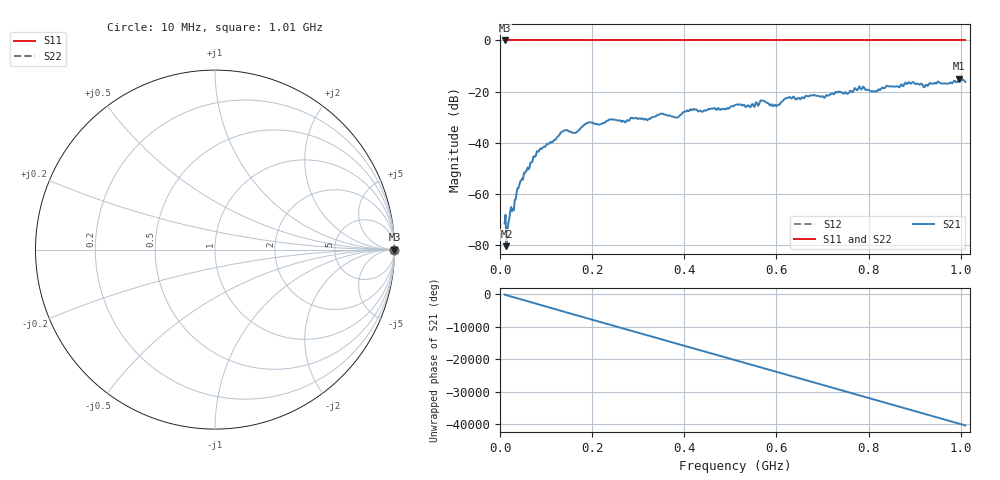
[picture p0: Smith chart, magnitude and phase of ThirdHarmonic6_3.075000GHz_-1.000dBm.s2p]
! 8/17/2025 9:00:05 AM
! C:\ANRITSUVNA\TEMP\TEMP.S2P
! CHANNEL.1
! TR.MEASUREMENT
! RAW.DATA
! RF.CORRECTION.OFF
! AVERAGING.OFF
! IF.BANDWIDTH: 5KHZ
! SWEEPTYPE:  FREQ.SWEEP(Linear)
! Reference Plane Port Info
! PORT:  PORT1  PORT2
! DISTANCE:  0  m  0  m
! TIME:  0  s  0  s
! PHASE.OFFSET:  0  deg.  0  deg.
! LOSS:  0  dB  0  dB
! REF.LOSS:  0  dB  0  dB
! REF.FREQ:  0  Hz  0  Hz
! Power Info
! POWER:  -20  dBm  -20  dBm
! EFF.POWER:  -20  dBm  -20  dBm
! SOURCE.ATTEN:  0  dB  0  dB
! TEST.ATTEN:  0  dB  0  dB
# GHZ S RI R 50.0
! FREQ.GHZ  S11RE  S11IM  S21RE  S21IM  S12RE  S12IM  S22RE  S22IM
!; PortSelection: Port_12
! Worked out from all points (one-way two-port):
!   501 points, 10 MHz to 1.01 GHz, reference 50 ohm
!   highest |S21| = -14.99 dB at 996 MHz (marker M1); lowest = -80.4 dB at 14 MHz (marker M2)
!   lowest |S11| = 0.0 dB at 10 MHz (marker M3)
!   |S11| at or under -10 dB: nowhere
!   |S22| runs from 0.0 to 0.0 dB; largest |S21 - S12| = 1.2
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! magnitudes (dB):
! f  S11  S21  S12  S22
! 10 MHz  0.0  -71.5  0.0  0.0
! 14 MHz  0.0  -80.4  0.0  0.0
! 18 MHz  0.0  -71.5  0.0  0.0
! 22 MHz  0.0  -67.2  0.0  0.0
! 42 MHz  0.0  -56.6  0.0  0.0
! 84 MHz  0.0  -43.5  0.0  0.0
! 136 MHz  0.0  -35.6  0.0  0.0
! 162 MHz  0.0  -36.1  0.0  0.0
! 178 MHz  0.0  -33.8  0.0  0.0
! 344 MHz  0.0  -29.1  0.0  0.0
! 382 MHz  0.0  -30.1  0.0  0.0
! 416 MHz  0.0  -27.3  0.0  0.0
! 510 MHz  0.0  -25.3  0.0  0.0
! 570 MHz  0.0  -23.5  0.0  0.0
! 596 MHz  0.0  -25.1  0.0  0.0
! 624 MHz  0.0  -22.5  0.0  0.0
! 678 MHz  0.0  -21.5  0.0  0.0
! 784 MHz  0.0  -19.2  0.0  0.0
! 814 MHz  0.0  -19.8  0.0  0.0
! 844 MHz  0.0  -17.9  0.0  0.0
! 996 MHz  0.0  -15.0  0.0  0.0
! 1.01 GHz  0.0  -16.2  0.0  0.0
